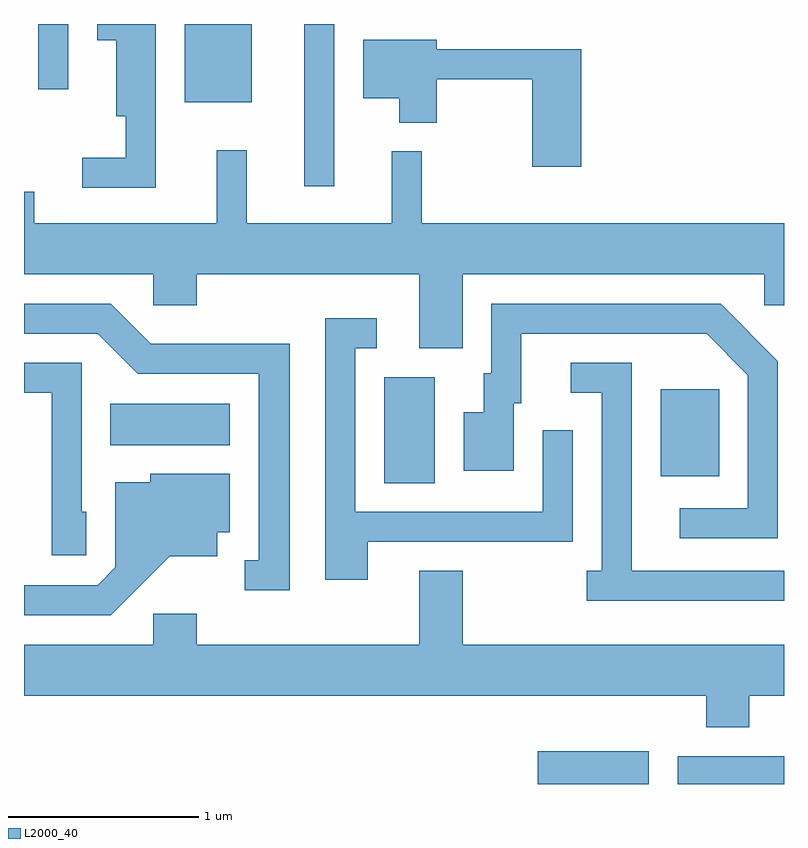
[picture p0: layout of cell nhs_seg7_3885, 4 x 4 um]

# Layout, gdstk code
import gdstk
lib = gdstk.Library(unit=1e-6, precision=1e-09)
def R(c, l, rs):  # rectangles x0, y0, x1, y1
    for r in rs: c.add(gdstk.rectangle(r[:2], r[2:], *l))
def P(c, l, *ps):  # polygons
    for p in ps: c.add(gdstk.Polygon(p, *l))
L2000_40 = (2000, 40)

nhs_seg7_3885 = lib.new_cell('nhs_seg7_3885')
R(nhs_seg7_3885, L2000_40, [(306.316,1758.252,306.899,1758.424), (307.051,1758.252,307.611,1758.399), (305.506,1759.836,305.774,1760.394), (306.961,1759.871,307.269,1760.329), (304.066,1760.036,304.694,1760.254), (305.086,1761.398,305.244,1762.252), (304.456,1761.841,304.809,1762.252), (303.686,1761.908,303.844,1762.252)])
P(nhs_seg7_3885, L2000_40, [(304.304,1762.252),(303.996,1762.252),(303.996,1762.166),(304.096,1762.166),(304.096,1761.766),(304.146,1761.766),(304.146,1761.549),(303.918,1761.549),(303.918,1761.391),(304.304,1761.391)],
  [(306.544,1762.119),(305.784,1762.119),(305.784,1762.169),(305.396,1762.169),(305.396,1761.861),(305.586,1761.861),(305.586,1761.731),(305.784,1761.731),(305.784,1761.961),(306.286,1761.961),(306.286,1761.501),(306.544,1761.501)],
  [(305.919,1760.936),(307.506,1760.936),(307.506,1760.771),(307.611,1760.771),(307.611,1761.204),(305.704,1761.204),(305.704,1761.583),(305.546,1761.583),(305.546,1761.204),(304.784,1761.204),(304.784,1761.588),(304.626,1761.588),(304.626,1761.204),(303.664,1761.204),(303.664,1761.369),(303.611,1761.369),(303.611,1760.936),(304.291,1760.936),(304.291,1760.771),(304.519,1760.771),(304.519,1760.936),(305.691,1760.936),(305.691,1760.546),(305.919,1760.546)],
  [(307.579,1760.477),(307.277,1760.779),(306.071,1760.779),(306.071,1760.414),(306.031,1760.414),(306.031,1760.209),(305.926,1760.209),(305.926,1759.901),(306.189,1759.901),(306.189,1760.256),(306.229,1760.256),(306.229,1760.621),(307.204,1760.621),(307.421,1760.404),(307.421,1759.704),(307.063,1759.704),(307.063,1759.546),(307.579,1759.546)],
  [(305.009,1760.569),(304.277,1760.569),(304.067,1760.779),(303.611,1760.779),(303.611,1760.621),(303.999,1760.621),(304.209,1760.411),(304.846,1760.411),(304.846,1759.429),(304.773,1759.429),(304.773,1759.271),(305.009,1759.271)],
  [(305.419,1759.526),(306.499,1759.526),(306.499,1760.113),(306.341,1760.113),(306.341,1759.684),(305.354,1759.684),(305.354,1760.546),(305.468,1760.546),(305.468,1760.704),(305.196,1760.704),(305.196,1759.326),(305.419,1759.326)],
  [(307.611,1759.374),(306.809,1759.374),(306.809,1760.469),(306.488,1760.469),(306.488,1760.311),(306.651,1760.311),(306.651,1759.374),(306.573,1759.374),(306.573,1759.216),(307.611,1759.216)],
  [(303.939,1759.684),(303.914,1759.684),(303.914,1760.469),(303.611,1760.469),(303.611,1760.311),(303.756,1760.311),(303.756,1759.456),(303.939,1759.456)],
  [(304.377,1759.451),(304.629,1759.451),(304.629,1759.576),(304.694,1759.576),(304.694,1759.884),(304.276,1759.884),(304.276,1759.839),(304.091,1759.839),(304.091,1759.392),(303.999,1759.299),(303.611,1759.299),(303.611,1759.141),(304.067,1759.141)],
  [(307.429,1758.716),(307.611,1758.716),(307.611,1758.984),(305.919,1758.984),(305.919,1759.374),(305.691,1759.374),(305.691,1758.984),(304.519,1758.984),(304.519,1759.149),(304.291,1759.149),(304.291,1758.984),(303.611,1758.984),(303.611,1758.716),(307.201,1758.716),(307.201,1758.551),(307.429,1758.551)])

lib.write_gds('nhs_seg7_3885.gds')
